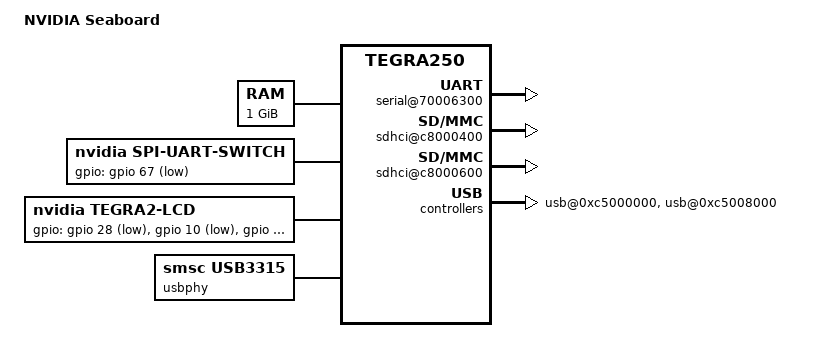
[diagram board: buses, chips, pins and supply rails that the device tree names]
/dts-v1/;

/memreserve/ 0x1c000000 0x04000000;
/include/ "../../../arch/arm/cpu/armv7/tegra2/tegra250.dtsi"
/include/ "flashmap-twostop.dts"

/ {
	model = "NVIDIA Seaboard";
	compatible = "nvidia,seaboard", "nvidia,tegra250";

	config {
		silent_console = <0>;
		odmdata = <0x300d8011>;
		hwid = "ARM SEABOARD TEST 1176";
		machine-arch-id = <3005>;

		/* Chrome OS specific GPIO port number */
		gpio_port_write_protect_switch	= <59>;
		gpio_port_recovery_switch	= <56>;
		gpio_port_developer_switch	= <168>;

		/* GPIO polarity: 0=active_low, 1=active_high */
		polarity_write_protect_switch	= <1>;
		polarity_recovery_switch	= <0>;
		polarity_developer_switch	= <1>;
	};

	aliases {
		console = "/serial@70006300";
                usb0 = "/usb@0xc5008000";
                usb1 = "/usb@0xc5000000";

		sdmmc0 = "/sdhci@c8000600";
		sdmmc1 = "/sdhci@c8000400";
	};

	chosen {
		bootargs = "";
	};

	memory {
		device_type = "memory";
		reg = <0x00000000 0x40000000>;
	};

	serial@70006300 {
		status = "ok";
		clock-frequency = <216000000>;
	};

	/*
	 * Seaboard has a switch on GPIO67 which affects this UART. Until
	 * pinmux support is added to the FDT it is not clear how to do this,
	 * so this is a stop-gap.
	 */
	switch {
		compatible = "nvidia,spi-uart-switch";
		uart = <&uart3>;

		/* Parameter 3 bit 0:1=output, 0=input; bit 1:1=high, 0=low */
		gpios = <&gpio 67 1>; /* Port I = 8 bit = 3: 8 * 8 + 3 */
	};

	sdhci@c8000400 {
		status = "ok";
		width = <4>;	/* width of SDIO port */
		removable = <1>;
		/* Parameter 3 bit 0:1=output, 0=input; bit 1:1=high, 0=low */
		cd-gpio = <&gpio 69 0>; /* card detect, gpio PI5 */
		wp-gpio = <&gpio 57 0>; /* write protect, gpio PH1 */
		power-gpio = <&gpio 70 3>; /* power enable, gpio PI6 */
	};

	sdhci@c8000600 {
		status = "ok";
		width = <4>;	/* width of SDIO port */
		removable = <0>;
	};

	lcd {
		compatible = "nvidia,tegra2-lcd";
		width = <1366>;
		height = <768>;
		bits_per_pixel = <16>;
		pwfm = <&pwfm2>;
		display = <&display1>;
		frame-buffer = <0x1C022000>;

		pixel_clock = <70600000>;

		/* Timing: ref_to_sync, sync_width. back_porch, front_porch */
		horiz_timing = <11 58 58 58>;
		vert_timing = <1 4 4 4>;

		/* Parameter 3 bit 0:1=output, 0=input; bit 1:1=high, 0=low */
		gpios = <&gpio 28 3>,	/* backlight PD4 */
			<&gpio 10 3>,	/* lvds shutdown PB2 */
			<&gpio 176 3>,	/* backlight vdd PW0 */
			<&gpio 22 3>;	/* enable vdd pnl PC6 */
	};

	usb@0xc5000000 {
		status = "ok";
		host-mode = <1>;
	};

	usbphy: usbphy@0 {
		compatible = "smsc,usb3315";
		status = "ok";
	};

	usb@0xc5008000 {
		status = "ok";
		utmi = <&usbphy>;
		host-mode = <0>;
	};

	kbc@0x7000e200 {
		keycode-plain    = [00  00  'w' 's' 'a' 'z' 00  DE
				    00  00  00  00  00  00  00  00
				    00  00  00  00  00  00  00  00
				    '5' '4' 'r' 'e' 'f' 'd' 'x' 00
				    '7' '6' 't' 'h' 'g' 'v' 'c' ' '
				    '9' '8' 'u' 'y' 'j' 'n' 'b' 5C
				    '-' '0' 'o' 'i' 'l' 'k' ',' 'm'
				    00  '=' ']' 0D  00  00  00  00
				    00  00  00  00  DF  DF  00  00
				    00  00  00  00  00  DC  00  DD
				    00  00  00  00  00  00  00  00
				    '[' 'p' 27  ';' '/' '.' 00  00
				    00  00  08  '3' '2' 00  00  00
				    00  7F  00  00  00  00  00  00
				    00  00  00  'q' 00  00  '1' 00
				    1B  '`' 00  09  00  00  00  00];

		keycode-shift    = [00  00  'W' 'S' 'A' 'Z' 00  00
				    00  00  00  00  00  00  00  00
				    00  00  00  00  00  00  00  00
				    '%' '$' 'R' 'E' 'F' 'D' 'X' 00
				    '&' '^' 'T' 'H' 'G' 'V' 'C' ' '
				    '(' '*' 'U' 'Y' 'J' 'N' 'B' '|'
				    '_' ')' 'O' 'I' 'L' 'K' '<' 'M'
				    00  '+' '}' 0D  00  00  00  00
				    00  00  00  00  00  00  00  00
				    00  00  00  00  00  00  00  00
				    00  00  00  00  00  00  00  00
				    '{' 'P' '"' ':' '?' '>' 00  00
				    00  00  08  '#' '@' 00  00  00
				    00  7F  00  00  00  00  00  00
				    00  00  00  'Q' 00  00  '!' 00
				    1B  '~' 00  09  00  00  00  00];

		keycode-fn       = [00  00  00  00  00  00  00  00
				    00  00  00  00  00  00  00  00
				    00  00  00  00  00  00  00  00
				    00  00  00  00  00  00  00  00
				    '7' 00  00  00  00  00  00  00
				    '9' '8' '4' 00  '1' 00  00  00
				    00  '/' '6' '5' '3' '2' 00  '0'
				    00  00  00  00  00  00  00  00
				    00  00  00  00  00  00  00  00
				    00  00  00  00  00  00  00  00
				    00  00  00  00  00  00  00  00
				    00  27  00  '-' '+' '.' 00  00
				    00  00  00  00  00  00  00  00
				    00  00  00  00  00  00  00  00
				    00  00  00  00  00  00  00  00
				    00  00  00  00  '?' 00  00  00];

		keycode-ctrl     = [00  00  17  13  01  1a  00  00
				    00  00  00  00  00  00  00  00
				    00  00  00  00  00  00  00  00
				    00  00  12  05  06  04  18  00
				    00  00  14  08  07  16  03  00
				    00  00  15  19  0a  0e  02  00
				    00  00  0f  09  0c  0b  00  0d
				    00  00  00  00  00  00  00  00
				    00  00  00  00  00  00  00  00
				    00  00  00  00  00  00  00  00
				    00  00  00  00  00  00  00  00
				    00  10  00  00  00  00  00  00
				    00  00  00  00  00  00  00  00
				    00  00  00  00  00  00  00  00
				    00  00  00  11  00  00  00  00
				    00  00  00  00  00  00  00  00];
		};
};
